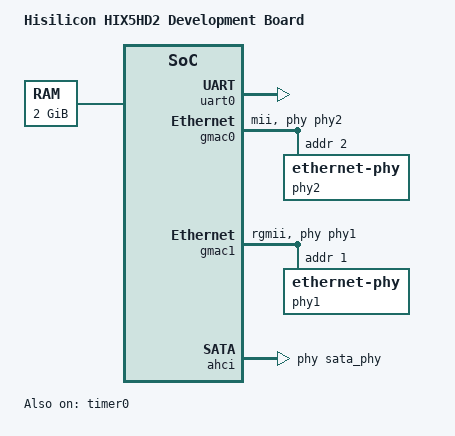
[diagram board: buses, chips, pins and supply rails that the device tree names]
// SPDX-License-Identifier: GPL-2.0-only
/*
 * Copyright (c) 2013-2014 Linaro Ltd.
 * Copyright (c) 2013-2014 HiSilicon Limited.
 */

/dts-v1/;
#include "hisi-x5hd2.dtsi"

/ {
	model = "Hisilicon HIX5HD2 Development Board";
	compatible = "hisilicon,hix5hd2";

	chosen {
		stdout-path = "serial0:115200n8";
	};

	cpus {
		#address-cells = <1>;
		#size-cells = <0>;
		enable-method = "hisilicon,hix5hd2-smp";

		cpu@0 {
			compatible = "arm,cortex-a9";
			device_type = "cpu";
			reg = <0>;
			next-level-cache = <&l2>;
		};

		cpu@1 {
			compatible = "arm,cortex-a9";
			device_type = "cpu";
			reg = <1>;
			next-level-cache = <&l2>;
		};
	};

	memory@0 {
		device_type = "memory";
		reg = <0x00000000 0x80000000>;
	};
};

&timer0 {
	status = "okay";
};

&uart0 {
	status = "okay";
};

&gmac0 {
	#address-cells = <1>;
	#size-cells = <0>;
	phy-handle = <&phy2>;
	phy-mode = "mii";
	/* Placeholder, overwritten by bootloader */
	mac-address = [00 00 00 00 00 00];
	status = "okay";

	phy2: ethernet-phy@2 {
		reg = <2>;
	};
};

&gmac1 {
	#address-cells = <1>;
	#size-cells = <0>;
	phy-handle = <&phy1>;
	phy-mode = "rgmii";
	/* Placeholder, overwritten by bootloader */
	mac-address = [00 00 00 00 00 00];
	status = "okay";

	phy1: ethernet-phy@1 {
		reg = <1>;
	};
};

&ahci {
	phys = <&sata_phy>;
	phy-names = "sata-phy";
};
